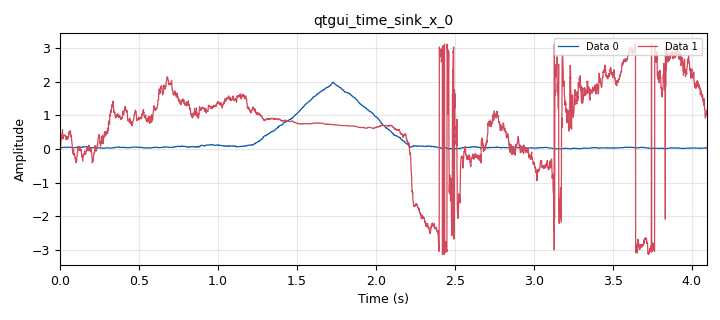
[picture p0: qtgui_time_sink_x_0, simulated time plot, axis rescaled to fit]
<?xml version='1.0' encoding='utf-8'?>
<?grc format='1' created='3.7.11'?>
<flow_graph>
<block>
<key>options</key>
<param><key>id</key><value>top_block</value></param>
<param><key>generate_options</key><value>qt_gui</value></param>
</block>
<block>
<key>variable</key>
<param><key>id</key><value>samp_rate</value></param>
<param><key>value</key><value>1e3</value></param>
</block>
<block>
<key>variable</key>
<param><key>id</key><value>sequence</value></param>
<param><key>value</key><value>tuple(random.choice((1+1j, 1-1j, -1-1j, -1+1j)) for i in range(512))</value></param>
</block>
<block>
<key>variable</key>
<param><key>id</key><value>sym_len</value></param>
<param><key>value</key><value>1024</value></param>
</block>
<block>
<key>analog_noise_source_x</key>
<param><key>id</key><value>analog_noise_source_x_0</value></param>
<param><key>amp</key><value>1</value></param>
<param><key>noise_type</key><value>analog.GR_GAUSSIAN</value></param>
<param><key>type</key><value>complex</value></param>
<param><key>seed</key><value>0</value></param>
</block>
<block>
<key>analog_sig_source_x</key>
<param><key>id</key><value>analog_sig_source_x_0</value></param>
<param><key>amp</key><value>1</value></param>
<param><key>freq</key><value>10</value></param>
<param><key>offset</key><value>0</value></param>
<param><key>type</key><value>complex</value></param>
<param><key>samp_rate</key><value>samp_rate</value></param>
<param><key>waveform</key><value>analog.GR_COS_WAVE</value></param>
</block>
<block>
<key>blocks_add_xx</key>
<param><key>id</key><value>blocks_add_xx_0</value></param>
<param><key>type</key><value>complex</value></param>
</block>
<block>
<key>blocks_complex_to_arg</key>
<param><key>id</key><value>blocks_complex_to_arg_0</value></param>
</block>
<block>
<key>blocks_complex_to_mag</key>
<param><key>id</key><value>blocks_complex_to_mag_0</value></param>
</block>
<block>
<key>blocks_delay</key>
<param><key>id</key><value>blocks_delay_0</value></param>
<param><key>delay</key><value>sym_len/2</value></param>
<param><key>type</key><value>complex</value></param>
</block>
<block>
<key>blocks_moving_average_xx</key>
<param><key>id</key><value>blocks_moving_average_xx_0</value></param>
<param><key>length</key><value>sym_len/2</value></param>
<param><key>max_iter</key><value>4000</value></param>
<param><key>scale</key><value>1.0/(sym_len/2)</value></param>
<param><key>type</key><value>complex</value></param>
</block>
<block>
<key>blocks_multiply_conjugate_cc</key>
<param><key>id</key><value>blocks_multiply_conjugate_cc_0</value></param>
</block>
<block>
<key>blocks_multiply_xx</key>
<param><key>id</key><value>blocks_multiply_xx_0</value></param>
<param><key>type</key><value>complex</value></param>
</block>
<block>
<key>blocks_null_source</key>
<param><key>id</key><value>blocks_null_source_0</value></param>
<param><key>bus_conns</key><value>[[0,],]</value></param>
<param><key>type</key><value>complex</value></param>
</block>
<block>
<key>blocks_throttle</key>
<param><key>id</key><value>blocks_throttle_0</value></param>
<param><key>samples_per_second</key><value>samp_rate</value></param>
<param><key>type</key><value>complex</value></param>
</block>
<block>
<key>blocks_vector_insert_x</key>
<param><key>id</key><value>blocks_vector_insert_x_1</value></param>
<param><key>offset</key><value>0</value></param>
<param><key>type</key><value>complex</value></param>
<param><key>period</key><value>4096</value></param>
<param><key>vector</key><value>sequence * 2</value></param>
</block>
<block>
<key>import</key>
<param><key>id</key><value>import_0</value></param>
<param><key>import</key><value>import random</value></param>
</block>
<block>
<key>qtgui_time_sink_x</key>
<param><key>id</key><value>qtgui_time_sink_x_0</value></param>
<param><key>color1</key><value>"blue"</value></param>
<param><key>label1</key><value></value></param>
<param><key>color2</key><value>"red"</value></param>
<param><key>label2</key><value></value></param>
<param><key>nconnections</key><value>2</value></param>
<param><key>size</key><value>sym_len*4</value></param>
<param><key>srate</key><value>samp_rate</value></param>
<param><key>type</key><value>float</value></param>
</block>
<connection><source_block_id>analog_noise_source_x_0</source_block_id><sink_block_id>blocks_add_xx_0</sink_block_id><source_key>0</source_key><sink_key>0</sink_key></connection>
<connection><source_block_id>analog_sig_source_x_0</source_block_id><sink_block_id>blocks_multiply_xx_0</sink_block_id><source_key>0</source_key><sink_key>1</sink_key></connection>
<connection><source_block_id>blocks_add_xx_0</source_block_id><sink_block_id>blocks_delay_0</sink_block_id><source_key>0</source_key><sink_key>0</sink_key></connection>
<connection><source_block_id>blocks_add_xx_0</source_block_id><sink_block_id>blocks_multiply_conjugate_cc_0</sink_block_id><source_key>0</source_key><sink_key>0</sink_key></connection>
<connection><source_block_id>blocks_complex_to_arg_0</source_block_id><sink_block_id>qtgui_time_sink_x_0</sink_block_id><source_key>0</source_key><sink_key>1</sink_key></connection>
<connection><source_block_id>blocks_complex_to_mag_0</source_block_id><sink_block_id>qtgui_time_sink_x_0</sink_block_id><source_key>0</source_key><sink_key>0</sink_key></connection>
<connection><source_block_id>blocks_delay_0</source_block_id><sink_block_id>blocks_multiply_conjugate_cc_0</sink_block_id><source_key>0</source_key><sink_key>1</sink_key></connection>
<connection><source_block_id>blocks_moving_average_xx_0</source_block_id><sink_block_id>blocks_complex_to_arg_0</sink_block_id><source_key>0</source_key><sink_key>0</sink_key></connection>
<connection><source_block_id>blocks_moving_average_xx_0</source_block_id><sink_block_id>blocks_complex_to_mag_0</sink_block_id><source_key>0</source_key><sink_key>0</sink_key></connection>
<connection><source_block_id>blocks_multiply_conjugate_cc_0</source_block_id><sink_block_id>blocks_throttle_0</sink_block_id><source_key>0</source_key><sink_key>0</sink_key></connection>
<connection><source_block_id>blocks_multiply_xx_0</source_block_id><sink_block_id>blocks_add_xx_0</sink_block_id><source_key>0</source_key><sink_key>1</sink_key></connection>
<connection><source_block_id>blocks_null_source_0</source_block_id><sink_block_id>blocks_vector_insert_x_1</sink_block_id><source_key>0</source_key><sink_key>0</sink_key></connection>
<connection><source_block_id>blocks_throttle_0</source_block_id><sink_block_id>blocks_moving_average_xx_0</sink_block_id><source_key>0</source_key><sink_key>0</sink_key></connection>
<connection><source_block_id>blocks_vector_insert_x_1</source_block_id><sink_block_id>blocks_multiply_xx_0</sink_block_id><source_key>0</source_key><sink_key>0</sink_key></connection>
</flow_graph>
